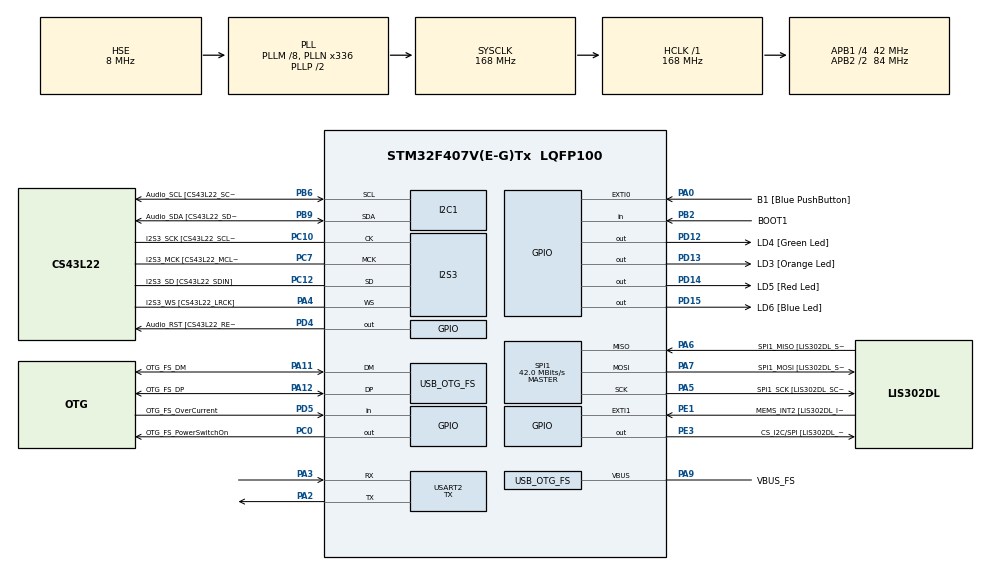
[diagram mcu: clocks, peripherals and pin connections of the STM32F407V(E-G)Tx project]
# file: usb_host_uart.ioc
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FREERTOS.Queues01=memoryToFilter,32,uint8_t,0,Dynamic,NULL,NULL;filterToUART,32,uint8_t,0,Dynamic,NULL,NULL
FREERTOS.Tasks01=readFromMemory,24,128,StartReadFromMemory,Default,NULL,Dynamic,NULL,NULL;filter,24,128,StartFilter,Default,NULL,Dynamic,NULL,NULL;sendUART,24,128,StartSendUART,Default,NULL,Dynamic,NULL,NULL
I2S3.AudioFreq-Half_Duplex_Master=I2S_AUDIOFREQ_96K
I2S3.ErrorAudioFreq=-2.34 %
I2S3.ErrorAudioFreq-Half_Duplex_Master=0.8 %
I2S3.FullDuplexMode=I2S_FULLDUPLEXMODE_DISABLE
I2S3.Instance=SPI$Index
I2S3.RealAudioFreq=93.75 KHz
I2S3.RealAudioFreq-Half_Duplex_Master=96.774 KHz
I2S3.VirtualMode=I2S_MODE_MASTER
Mcu.Family=STM32F4
Mcu.Name=STM32F407V(E-G)Tx
Mcu.Package=LQFP100
NVIC.OTG_FS_IRQn=true\:5\:0\:false\:false\:true\:true\:true\:true
NVIC.PriorityGroup=NVIC_PRIORITYGROUP_4
NVIC.TIM6_DAC_IRQn=true\:0\:0\:false\:false\:true\:false\:false\:true
NVIC.TimeBase=TIM6_DAC_IRQn
NVIC.TimeBaseIP=TIM6
PA0-WKUP.GPIO_Label=B1 [Blue PushButton]
PA0-WKUP.GPIO_ModeDefaultEXTI=GPIO_MODE_EVT_RISING
PA0-WKUP.GPIO_PuPd=GPIO_NOPULL
PA0-WKUP.Signal=GPXTI0
PA10.GPIO_Label=OTG_FS_ID
PA10.GPIO_Mode=GPIO_MODE_AF_PP
PA10.GPIO_PuPd=GPIO_NOPULL
PA10.GPIO_Speed=GPIO_SPEED_FREQ_LOW
PA10.Signal=USB_OTG_FS_ID
PA11.GPIO_Label=OTG_FS_DM
PA11.GPIO_Mode=GPIO_MODE_AF_PP
PA11.GPIO_PuPd=GPIO_NOPULL
PA11.GPIO_Speed=GPIO_SPEED_FREQ_LOW
PA11.Mode=Host_Only
PA11.Signal=USB_OTG_FS_DM
PA12.GPIO_Label=OTG_FS_DP
PA12.GPIO_Mode=GPIO_MODE_AF_PP
PA12.GPIO_PuPd=GPIO_NOPULL
PA12.GPIO_Speed=GPIO_SPEED_FREQ_LOW
PA12.Mode=Host_Only
PA12.Signal=USB_OTG_FS_DP
PA13.GPIO_Label=SWDIO
PA13.Mode=Serial_Wire
PA13.Signal=SYS_JTMS-SWDIO
PA14.GPIO_Label=SWCLK
PA14.Mode=Serial_Wire
PA14.Signal=SYS_JTCK-SWCLK
PA2.Mode=Asynchronous
PA2.Signal=USART2_TX
PA3.Mode=Asynchronous
PA3.Signal=USART2_RX
PA4.GPIO_Label=I2S3_WS [CS43L22_LRCK]
PA4.GPIO_Mode=GPIO_MODE_AF_PP
PA4.GPIO_PuPd=GPIO_NOPULL
PA4.GPIO_Speed=GPIO_SPEED_FREQ_LOW
PA4.Mode=Half_Duplex_Master
PA4.Signal=I2S3_WS
PA5.GPIO_Label=SPI1_SCK [LIS302DL_SCL/SPC]
PA5.GPIO_Mode=GPIO_MODE_AF_PP
PA5.GPIO_PuPd=GPIO_NOPULL
PA5.GPIO_Speed=GPIO_SPEED_FREQ_LOW
PA5.Mode=Full_Duplex_Master
PA5.Signal=SPI1_SCK
PA6.GPIO_Label=SPI1_MISO [LIS302DL_SDO]
PA6.GPIO_Mode=GPIO_MODE_AF_PP
PA6.GPIO_PuPd=GPIO_NOPULL
PA6.GPIO_Speed=GPIO_SPEED_FREQ_LOW
PA6.Mode=Full_Duplex_Master
PA6.Signal=SPI1_MISO
PA7.GPIO_Label=SPI1_MOSI [LIS302DL_SDA/SDI/SDO]
PA7.GPIO_Mode=GPIO_MODE_AF_PP
PA7.GPIO_PuPd=GPIO_NOPULL
PA7.GPIO_Speed=GPIO_SPEED_FREQ_LOW
PA7.Mode=Full_Duplex_Master
PA7.Signal=SPI1_MOSI
PA9.GPIO_Label=VBUS_FS
PA9.GPIO_Mode=GPIO_MODE_INPUT
PA9.GPIO_PuPd=GPIO_NOPULL
PA9.Mode=Activate_VBUS
PA9.Signal=USB_OTG_FS_VBUS
PB10.GPIO_Label=CLK_IN [MP45DT02_CLK]
PB10.GPIO_Mode=GPIO_MODE_AF_PP
PB10.GPIO_PuPd=GPIO_NOPULL
PB10.GPIO_Speed=GPIO_SPEED_FREQ_LOW
PB10.Signal=I2S2_CK
PB2.GPIO_Label=BOOT1
PB2.GPIO_Mode=GPIO_MODE_INPUT
PB2.GPIO_PuPd=GPIO_NOPULL
PB2.Signal=GPIO_Input
PB3.GPIO_Label=SWO
PB3.Signal=SYS_JTDO-SWO
PB6.GPIO_Label=Audio_SCL [CS43L22_SCL]
PB6.GPIO_Mode=GPIO_MODE_AF_OD
PB6.GPIO_PuPd=GPIO_NOPULL
PB6.GPIO_Speed=GPIO_SPEED_FREQ_LOW
PB6.Mode=I2C
PB6.Signal=I2C1_SCL
PB9.GPIO_Label=Audio_SDA [CS43L22_SDA]
PB9.GPIO_Mode=GPIO_MODE_AF_OD
PB9.GPIO_PuPd=GPIO_NOPULL
PB9.GPIO_Speed=GPIO_SPEED_FREQ_LOW
PB9.Mode=I2C
PB9.Signal=I2C1_SDA
PC0.GPIO_Label=OTG_FS_PowerSwitchOn
PC0.GPIO_PuPd=GPIO_NOPULL
PC0.GPIO_Speed=GPIO_SPEED_FREQ_LOW
PC0.PinState=GPIO_PIN_SET
PC0.Signal=GPIO_Output
PC10.GPIO_Label=I2S3_SCK [CS43L22_SCLK]
PC10.GPIO_Mode=GPIO_MODE_AF_PP
PC10.GPIO_PuPd=GPIO_NOPULL
PC10.GPIO_Speed=GPIO_SPEED_FREQ_LOW
PC10.Mode=Half_Duplex_Master
PC10.Signal=I2S3_CK
PC12.GPIO_Label=I2S3_SD [CS43L22_SDIN]
PC12.GPIO_Mode=GPIO_MODE_AF_PP
PC12.GPIO_PuPd=GPIO_NOPULL
PC12.GPIO_Speed=GPIO_SPEED_FREQ_LOW
PC12.Mode=Half_Duplex_Master
PC12.Signal=I2S3_SD
PC14-OSC32_IN.GPIO_Label=PC14-OSC32_IN
PC14-OSC32_IN.Mode=LSE-External-Oscillator
PC14-OSC32_IN.Signal=RCC_OSC32_IN
PC15-OSC32_OUT.GPIO_Label=PC15-OSC32_OUT
PC15-OSC32_OUT.Mode=LSE-External-Oscillator
PC15-OSC32_OUT.Signal=RCC_OSC32_OUT
PC3.GPIO_Label=PDM_OUT [MP45DT02_DOUT]
PC3.GPIO_Mode=GPIO_MODE_AF_PP
PC3.GPIO_PuPd=GPIO_NOPULL
PC3.GPIO_Speed=GPIO_SPEED_FREQ_LOW
PC3.Signal=I2S2_SD
PC7.GPIO_Label=I2S3_MCK [CS43L22_MCLK]
PC7.GPIO_Mode=GPIO_MODE_AF_PP
PC7.GPIO_PuPd=GPIO_NOPULL
PC7.GPIO_Speed=GPIO_SPEED_FREQ_LOW
PC7.Mode=Master_Clock_Activated
PC7.Signal=I2S3_MCK
PD12.GPIO_Label=LD4 [Green Led]
PD12.GPIO_PuPd=GPIO_NOPULL
PD12.GPIO_Speed=GPIO_SPEED_FREQ_LOW
PD12.Signal=GPIO_Output
PD13.GPIO_Label=LD3 [Orange Led]
PD13.GPIO_PuPd=GPIO_NOPULL
PD13.GPIO_Speed=GPIO_SPEED_FREQ_LOW
PD13.Signal=GPIO_Output
PD14.GPIO_Label=LD5 [Red Led]
PD14.GPIO_PuPd=GPIO_NOPULL
PD14.GPIO_Speed=GPIO_SPEED_FREQ_LOW
PD14.Signal=GPIO_Output
PD15.GPIO_Label=LD6 [Blue Led]
PD15.GPIO_PuPd=GPIO_NOPULL
PD15.GPIO_Speed=GPIO_SPEED_FREQ_LOW
PD15.Signal=GPIO_Output
PD4.GPIO_Label=Audio_RST [CS43L22_RESET]
PD4.GPIO_PuPd=GPIO_NOPULL
PD4.GPIO_Speed=GPIO_SPEED_FREQ_LOW
PD4.Signal=GPIO_Output
PD5.GPIO_Label=OTG_FS_OverCurrent
PD5.GPIO_Mode=GPIO_MODE_INPUT
PD5.GPIO_PuPd=GPIO_NOPULL
PD5.Signal=GPIO_Input
PE1.GPIO_Label=MEMS_INT2 [LIS302DL_INT2]
PE1.GPIO_ModeDefaultEXTI=GPIO_MODE_EVT_RISING
PE1.GPIO_PuPd=GPIO_NOPULL
PE1.Signal=GPXTI1
PE3.GPIO_Label=CS_I2C/SPI [LIS302DL_CS_I2C/SPI]
PE3.GPIO_PuPd=GPIO_NOPULL
PE3.GPIO_Speed=GPIO_SPEED_FREQ_LOW
PE3.Signal=GPIO_Output
PH0-OSC_IN.GPIO_Label=PH0-OSC_IN
PH0-OSC_IN.Mode=HSE-External-Oscillator
PH0-OSC_IN.Signal=RCC_OSC_IN
PH1-OSC_OUT.GPIO_Label=PH1-OSC_OUT
PH1-OSC_OUT.Mode=HSE-External-Oscillator
PH1-OSC_OUT.Signal=RCC_OSC_OUT
ProjectManager.HeapSize=0x2000
ProjectManager.StackSize=0x2000
ProjectManager.TargetToolchain=STM32CubeIDE
RCC.48MHZClocksFreq_Value=48000000
RCC.AHBFreq_Value=168000000
RCC.APB1CLKDivider=RCC_HCLK_DIV4
RCC.APB1Freq_Value=42000000
RCC.APB1TimFreq_Value=84000000
RCC.APB2CLKDivider=RCC_HCLK_DIV2
RCC.APB2Freq_Value=84000000
RCC.APB2TimFreq_Value=168000000
RCC.CortexFreq_Value=168000000
RCC.HCLKFreq_Value=168000000
RCC.HSE_VALUE=8000000
RCC.HSI_VALUE=16000000
RCC.PLLM=8
RCC.PLLN=336
RCC.PLLQ=7
RCC.SYSCLKFreq_VALUE=168000000
RCC.SYSCLKSource=RCC_SYSCLKSOURCE_PLLCLK
RCC.VCOOutputFreq_Value=336000000
SPI1.CalculateBaudRate=42.0 MBits/s
SPI1.Direction=SPI_DIRECTION_2LINES
SPI1.Mode=SPI_MODE_MASTER
SPI1.VirtualType=VM_MASTER
USART2.Mode=MODE_TX
USART2.VirtualMode=VM_ASYNC
USB_HOST.BSP.number=1
USB_HOST.USBH_HandleTypeDef-MSC_FS=hUsbHostFS
USB_HOST.VirtualModeFS=Msc
USB_HOST0.BSP.STBoard=false
USB_HOST0.BSP.api=Unknown
USB_HOST0.BSP.i2caddr=0
USB_HOST0.BSP.i2creg=0
USB_HOST0.BSP.instance=PC0
USB_HOST0.BSP.ip=GPIO
USB_HOST0.BSP.mode=Output
USB_HOST0.BSP.name=Drive_VBUS_FS
USB_HOST0.BSP.solution=PC0
USB_OTG_FS.VirtualMode=Host_Only
USB_OTG_FS.phy_itface=HCD_PHY_EMBEDDED
VP_FATFS_VS_USB.Mode=USB
VP_FREERTOS_VS_CMSIS_V2.Mode=CMSIS_V2
VP_SYS_VS_tim6.Mode=TIM6
VP_USB_HOST_VS_USB_HOST_MSC_FS.Mode=MSC_FS
board=STM32F407G-DISC1

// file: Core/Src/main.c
/* USER CODE BEGIN Header */
/**
  ******************************************************************************
  * @file           : main.c
  * @brief          : Main program body
  ******************************************************************************
  * @attention
  *
  * <h2><center>&copy; Copyright (c) 2020 STMicroelectronics.
  * All rights reserved.</center></h2>
  *
  * This software component is licensed by ST under Ultimate Liberty license
  * SLA0044, the "License"; You may not use this file except in compliance with
  * the License. You may obtain a copy of the License at:
  *                             www.st.com/SLA0044
  *
  ******************************************************************************
  */
/* USER CODE END Header */
#include "main.h"
#include "cmsis_os.h"
#include "fatfs.h"
#include "usb_host.h"

I2C_HandleTypeDef hi2c1;

I2S_HandleTypeDef hi2s3;

SPI_HandleTypeDef hspi1;

UART_HandleTypeDef huart2;

/* Definitions for readFromMemory */
osThreadId_t readFromMemoryHandle;
const osThreadAttr_t readFromMemory_attributes = {
  .name = "readFromMemory",
  .priority = (osPriority_t) osPriorityNormal,
  .stack_size = 128 * 4
};
/* Definitions for filter */
osThreadId_t filterHandle;
const osThreadAttr_t filter_attributes = {
  .name = "filter",
  .priority = (osPriority_t) osPriorityNormal,
  .stack_size = 128 * 4
};
/* Definitions for sendUART */
osThreadId_t sendUARTHandle;
const osThreadAttr_t sendUART_attributes = {
  .name = "sendUART",
  .priority = (osPriority_t) osPriorityNormal,
  .stack_size = 128 * 4
};
/* Definitions for memoryToFilter */
osMessageQueueId_t memoryToFilterHandle;
const osMessageQueueAttr_t memoryToFilter_attributes = {
  .name = "memoryToFilter"
};
/* Definitions for filterToUART */
osMessageQueueId_t filterToUARTHandle;
const osMessageQueueAttr_t filterToUART_attributes = {
  .name = "filterToUART"
};
/* USER CODE BEGIN PV */
extern ApplicationTypeDef Appli_state;

/* USER CODE END PV */

void SystemClock_Config(void);
static void MX_GPIO_Init(void);
static void MX_I2S3_Init(void);
static void MX_SPI1_Init(void);
static void MX_I2C1_Init(void);
static void MX_USART2_UART_Init(void);
void StartReadFromMemory(void *argument);
void StartFilter(void *argument);
void StartSendUART(void *argument);

int main(void)
{

  /* MCU Configuration--------------------------------------------------------*/

  /* Reset of all peripherals, Initializes the Flash interface and the Systick. */
  HAL_Init();

  /* Configure the system clock */
  SystemClock_Config();

  /* Initialize all configured peripherals */
  MX_GPIO_Init();
  MX_I2S3_Init();
  MX_SPI1_Init();
  MX_I2C1_Init();
  MX_USART2_UART_Init();
  MX_FATFS_Init();

  /* Init scheduler */
  osKernelInitialize();

  /* Create the queue(s) */
  /* creation of memoryToFilter */
  memoryToFilterHandle = osMessageQueueNew (32, sizeof(uint8_t), &memoryToFilter_attributes);

  /* creation of filterToUART */
  filterToUARTHandle = osMessageQueueNew (32, sizeof(uint8_t), &filterToUART_attributes);

  /* Create the thread(s) */
  /* creation of readFromMemory */
  readFromMemoryHandle = osThreadNew(StartReadFromMemory, NULL, &readFromMemory_attributes);

  /* creation of filter */
  filterHandle = osThreadNew(StartFilter, NULL, &filter_attributes);

  /* creation of sendUART */
  sendUARTHandle = osThreadNew(StartSendUART, NULL, &sendUART_attributes);

  /* Start scheduler */
  osKernelStart();

  /* We should never get here as control is now taken by the scheduler */
  /* Infinite loop */
  while (1)
  {

  }
}

void SystemClock_Config(void)
{
  RCC_OscInitTypeDef RCC_OscInitStruct = {0};
  RCC_ClkInitTypeDef RCC_ClkInitStruct = {0};
  RCC_PeriphCLKInitTypeDef PeriphClkInitStruct = {0};

  /** Configure the main internal regulator output voltage
  */
  __HAL_RCC_PWR_CLK_ENABLE();
  __HAL_PWR_VOLTAGESCALING_CONFIG(PWR_REGULATOR_VOLTAGE_SCALE1);
  /** Initializes the RCC Oscillators according to the specified parameters
  * in the RCC_OscInitTypeDef structure.
  */
  RCC_OscInitStruct.OscillatorType = RCC_OSCILLATORTYPE_HSE;
  RCC_OscInitStruct.HSEState = RCC_HSE_ON;
  RCC_OscInitStruct.PLL.PLLState = RCC_PLL_ON;
  RCC_OscInitStruct.PLL.PLLSource = RCC_PLLSOURCE_HSE;
  RCC_OscInitStruct.PLL.PLLM = 8;
  RCC_OscInitStruct.PLL.PLLN = 336;
  RCC_OscInitStruct.PLL.PLLP = RCC_PLLP_DIV2;
  RCC_OscInitStruct.PLL.PLLQ = 7;
  if (HAL_RCC_OscConfig(&RCC_OscInitStruct) != HAL_OK)
  {
    Error_Handler();
  }
  /** Initializes the CPU, AHB and APB buses clocks
  */
  RCC_ClkInitStruct.ClockType = RCC_CLOCKTYPE_HCLK|RCC_CLOCKTYPE_SYSCLK
                              |RCC_CLOCKTYPE_PCLK1|RCC_CLOCKTYPE_PCLK2;
  RCC_ClkInitStruct.SYSCLKSource = RCC_SYSCLKSOURCE_PLLCLK;
  RCC_ClkInitStruct.AHBCLKDivider = RCC_SYSCLK_DIV1;
  RCC_ClkInitStruct.APB1CLKDivider = RCC_HCLK_DIV4;
  RCC_ClkInitStruct.APB2CLKDivider = RCC_HCLK_DIV2;

  if (HAL_RCC_ClockConfig(&RCC_ClkInitStruct, FLASH_LATENCY_5) != HAL_OK)
  {
    Error_Handler();
  }
  PeriphClkInitStruct.PeriphClockSelection = RCC_PERIPHCLK_I2S;
  PeriphClkInitStruct.PLLI2S.PLLI2SN = 192;
  PeriphClkInitStruct.PLLI2S.PLLI2SR = 2;
  if (HAL_RCCEx_PeriphCLKConfig(&PeriphClkInitStruct) != HAL_OK)
  {
    Error_Handler();
  }
}

static void MX_I2C1_Init(void)
{

  hi2c1.Instance = I2C1;
  hi2c1.Init.ClockSpeed = 100000;
  hi2c1.Init.DutyCycle = I2C_DUTYCYCLE_2;
  hi2c1.Init.OwnAddress1 = 0;
  hi2c1.Init.AddressingMode = I2C_ADDRESSINGMODE_7BIT;
  hi2c1.Init.DualAddressMode = I2C_DUALADDRESS_DISABLE;
  hi2c1.Init.OwnAddress2 = 0;
  hi2c1.Init.GeneralCallMode = I2C_GENERALCALL_DISABLE;
  hi2c1.Init.NoStretchMode = I2C_NOSTRETCH_DISABLE;
  if (HAL_I2C_Init(&hi2c1) != HAL_OK)
  {
    Error_Handler();
  }

}

static void MX_I2S3_Init(void)
{

  hi2s3.Instance = SPI3;
  hi2s3.Init.Mode = I2S_MODE_MASTER_TX;
  hi2s3.Init.Standard = I2S_STANDARD_PHILIPS;
  hi2s3.Init.DataFormat = I2S_DATAFORMAT_16B;
  hi2s3.Init.MCLKOutput = I2S_MCLKOUTPUT_ENABLE;
  hi2s3.Init.AudioFreq = I2S_AUDIOFREQ_96K;
  hi2s3.Init.CPOL = I2S_CPOL_LOW;
  hi2s3.Init.ClockSource = I2S_CLOCK_PLL;
  hi2s3.Init.FullDuplexMode = I2S_FULLDUPLEXMODE_DISABLE;
  if (HAL_I2S_Init(&hi2s3) != HAL_OK)
  {
    Error_Handler();
  }

}

static void MX_SPI1_Init(void)
{

  /* SPI1 parameter configuration*/
  hspi1.Instance = SPI1;
  hspi1.Init.Mode = SPI_MODE_MASTER;
  hspi1.Init.Direction = SPI_DIRECTION_2LINES;
  hspi1.Init.DataSize = SPI_DATASIZE_8BIT;
  hspi1.Init.CLKPolarity = SPI_POLARITY_LOW;
  hspi1.Init.CLKPhase = SPI_PHASE_1EDGE;
  hspi1.Init.NSS = SPI_NSS_SOFT;
  hspi1.Init.BaudRatePrescaler = SPI_BAUDRATEPRESCALER_2;
  hspi1.Init.FirstBit = SPI_FIRSTBIT_MSB;
  hspi1.Init.TIMode = SPI_TIMODE_DISABLE;
  hspi1.Init.CRCCalculation = SPI_CRCCALCULATION_DISABLE;
  hspi1.Init.CRCPolynomial = 10;
  if (HAL_SPI_Init(&hspi1) != HAL_OK)
  {
    Error_Handler();
  }

}

static void MX_USART2_UART_Init(void)
{

  huart2.Instance = USART2;
  huart2.Init.BaudRate = 115200;
  huart2.Init.WordLength = UART_WORDLENGTH_8B;
  huart2.Init.StopBits = UART_STOPBITS_1;
  huart2.Init.Parity = UART_PARITY_NONE;
  huart2.Init.Mode = UART_MODE_TX;
  huart2.Init.HwFlowCtl = UART_HWCONTROL_NONE;
  huart2.Init.OverSampling = UART_OVERSAMPLING_16;
  if (HAL_UART_Init(&huart2) != HAL_OK)
  {
    Error_Handler();
  }

}

static void MX_GPIO_Init(void)
{
  GPIO_InitTypeDef GPIO_InitStruct = {0};

  /* GPIO Ports Clock Enable */
  __HAL_RCC_GPIOE_CLK_ENABLE();
  __HAL_RCC_GPIOC_CLK_ENABLE();
  __HAL_RCC_GPIOH_CLK_ENABLE();
  __HAL_RCC_GPIOA_CLK_ENABLE();
  __HAL_RCC_GPIOB_CLK_ENABLE();
  __HAL_RCC_GPIOD_CLK_ENABLE();

  /*Configure GPIO pin Output Level */
  HAL_GPIO_WritePin(CS_I2C_SPI_GPIO_Port, CS_I2C_SPI_Pin, GPIO_PIN_RESET);

  /*Configure GPIO pin Output Level */
  HAL_GPIO_WritePin(OTG_FS_PowerSwitchOn_GPIO_Port, OTG_FS_PowerSwitchOn_Pin, GPIO_PIN_SET);

  /*Configure GPIO pin Output Level */
  HAL_GPIO_WritePin(GPIOD, LD4_Pin|LD3_Pin|LD5_Pin|LD6_Pin
                          |Audio_RST_Pin, GPIO_PIN_RESET);

  /*Configure GPIO pin : CS_I2C_SPI_Pin */
  GPIO_InitStruct.Pin = CS_I2C_SPI_Pin;
  GPIO_InitStruct.Mode = GPIO_MODE_OUTPUT_PP;
  GPIO_InitStruct.Pull = GPIO_NOPULL;
  GPIO_InitStruct.Speed = GPIO_SPEED_FREQ_LOW;
  HAL_GPIO_Init(CS_I2C_SPI_GPIO_Port, &GPIO_InitStruct);

  /*Configure GPIO pin : OTG_FS_PowerSwitchOn_Pin */
  GPIO_InitStruct.Pin = OTG_FS_PowerSwitchOn_Pin;
  GPIO_InitStruct.Mode = GPIO_MODE_OUTPUT_PP;
  GPIO_InitStruct.Pull = GPIO_NOPULL;
  GPIO_InitStruct.Speed = GPIO_SPEED_FREQ_LOW;
  HAL_GPIO_Init(OTG_FS_PowerSwitchOn_GPIO_Port, &GPIO_InitStruct);

  /*Configure GPIO pin : PDM_OUT_Pin */
  GPIO_InitStruct.Pin = PDM_OUT_Pin;
  GPIO_InitStruct.Mode = GPIO_MODE_AF_PP;
  GPIO_InitStruct.Pull = GPIO_NOPULL;
  GPIO_InitStruct.Speed = GPIO_SPEED_FREQ_LOW;
  GPIO_InitStruct.Alternate = GPIO_AF5_SPI2;
  HAL_GPIO_Init(PDM_OUT_GPIO_Port, &GPIO_InitStruct);

  /*Configure GPIO pin : B1_Pin */
  GPIO_InitStruct.Pin = B1_Pin;
  GPIO_InitStruct.Mode = GPIO_MODE_EVT_RISING;
  GPIO_InitStruct.Pull = GPIO_NOPULL;
  HAL_GPIO_Init(B1_GPIO_Port, &GPIO_InitStruct);

  /*Configure GPIO pin : BOOT1_Pin */
  GPIO_InitStruct.Pin = BOOT1_Pin;
  GPIO_InitStruct.Mode = GPIO_MODE_INPUT;
  GPIO_InitStruct.Pull = GPIO_NOPULL;
  HAL_GPIO_Init(BOOT1_GPIO_Port, &GPIO_InitStruct);

  /*Configure GPIO pin : CLK_IN_Pin */
  GPIO_InitStruct.Pin = CLK_IN_Pin;
  GPIO_InitStruct.Mode = GPIO_MODE_AF_PP;
  GPIO_InitStruct.Pull = GPIO_NOPULL;
  GPIO_InitStruct.Speed = GPIO_SPEED_FREQ_LOW;
  GPIO_InitStruct.Alternate = GPIO_AF5_SPI2;
  HAL_GPIO_Init(CLK_IN_GPIO_Port, &GPIO_InitStruct);

  /*Configure GPIO pins : LD4_Pin LD3_Pin LD5_Pin LD6_Pin
                           Audio_RST_Pin */
  GPIO_InitStruct.Pin = LD4_Pin|LD3_Pin|LD5_Pin|LD6_Pin
                          |Audio_RST_Pin;
  GPIO_InitStruct.Mode = GPIO_MODE_OUTPUT_PP;
  GPIO_InitStruct.Pull = GPIO_NOPULL;
  GPIO_InitStruct.Speed = GPIO_SPEED_FREQ_LOW;
  HAL_GPIO_Init(GPIOD, &GPIO_InitStruct);

  /*Configure GPIO pin : OTG_FS_OverCurrent_Pin */
  GPIO_InitStruct.Pin = OTG_FS_OverCurrent_Pin;
  GPIO_InitStruct.Mode = GPIO_MODE_INPUT;
  GPIO_InitStruct.Pull = GPIO_NOPULL;
  HAL_GPIO_Init(OTG_FS_OverCurrent_GPIO_Port, &GPIO_InitStruct);

  /*Configure GPIO pin : MEMS_INT2_Pin */
  GPIO_InitStruct.Pin = MEMS_INT2_Pin;
  GPIO_InitStruct.Mode = GPIO_MODE_EVT_RISING;
  GPIO_InitStruct.Pull = GPIO_NOPULL;
  HAL_GPIO_Init(MEMS_INT2_GPIO_Port, &GPIO_InitStruct);

}

void StartReadFromMemory(void *argument)
{
  /* init code for USB_HOST */
  MX_USB_HOST_Init();
  /* USER CODE BEGIN 5 */
  uint8_t sendToFilter = 0x01;

  /* Infinite loop */
  for(;;)
  {

	  osMessageQueuePut(memoryToFilterHandle, &sendToFilter, 0, 200);
	  osDelay(1000);
  }
  /* USER CODE END 5 */
}

void StartFilter(void *argument)
{
  /* USER CODE BEGIN StartFilter */
	uint8_t bufferGetFromMemory[1];
	uint8_t sendToSendUART;
  /* Infinite loop */
  for(;;)
  {
	  osMessageQueueGet(memoryToFilterHandle, &bufferGetFromMemory, NULL, 1000);
	  // printf("Received Filter: %d\n", (int)bufferGetFromMemory[0]);

	  //Filtering
	  sendToSendUART = bufferGetFromMemory[0];

	  osMessageQueuePut(filterToUARTHandle, &sendToSendUART, 0, 200);

  }
  /* USER CODE END StartFilter */
}

void StartSendUART(void *argument)
{
  /* USER CODE BEGIN StartSendUART */
	uint8_t bufferGetFromFilter[1];

  /* Infinite loop */
  for(;;)
  {
	  osMessageQueueGet(filterToUARTHandle, &bufferGetFromFilter, NULL, 1000);

	  //checking without UART
	  if(bufferGetFromFilter[0] == 0x01) {
		  HAL_GPIO_WritePin(GPIOD, GPIO_PIN_13, 1);
	  } else {
		  HAL_GPIO_WritePin(GPIOD, GPIO_PIN_15, 1);
	  }

	  HAL_UART_Transmit(&huart2, bufferGetFromFilter, 2, 1000);

	  //na przerwaniach
	  //HAL_UART_Transmit_IT(&huart2, bufferGetFromFilter, 2);

  }
  /* USER CODE END StartSendUART */
}

 /**
  * @brief  Period elapsed callback in non blocking mode
  * @note   This function is called  when TIM6 interrupt took place, inside
  * HAL_TIM_IRQHandler(). It makes a direct call to HAL_IncTick() to increment
  * a global variable "uwTick" used as application time base.
  * @param  htim : TIM handle
  * @retval None
  */
void HAL_TIM_PeriodElapsedCallback(TIM_HandleTypeDef *htim)
{
  if (htim->Instance == TIM6) {
    HAL_IncTick();
  }
}

void Error_Handler(void)
{
  __disable_irq();
  while (1)
  {
  }
}

/************************ (C) COPYRIGHT STMicroelectronics *****END OF FILE****/
